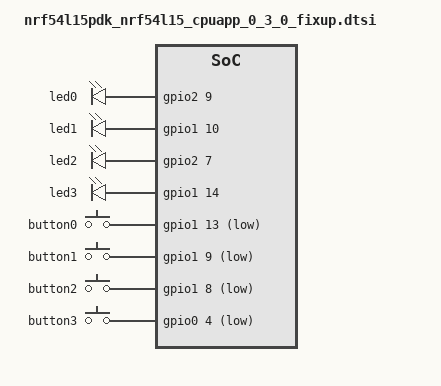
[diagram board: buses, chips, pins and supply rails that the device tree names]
/* Ths file content is copied from the "nrf54l15pdk_nrf54l15_cpuapp_0_3_0.overlay" file defined in
 * nrf54l15pdk_nrf54l15 board directory. The file from the board directory is not automatically used
 * e.g. for mcuboot_secondary_app child image. Application applies content of the file manually to
 * workaround the problem.
 */

/*
 * Copyright (c) 2024 Nordic Semiconductor ASA
 *
 * SPDX-License-Identifier: LicenseRef-Nordic-5-Clause
 */


&led0 {
	gpios = <&gpio2 9 GPIO_ACTIVE_HIGH>;
};

&led1 {
	gpios = <&gpio1 10 GPIO_ACTIVE_HIGH>;
};

&led2 {
	gpios = <&gpio2 7 GPIO_ACTIVE_HIGH>;
};

&led3 {
	gpios = <&gpio1 14 GPIO_ACTIVE_HIGH>;
};

&button0 {
	gpios = <&gpio1 13 (GPIO_PULL_UP | GPIO_ACTIVE_LOW)>;
};

&button1 {
	gpios = <&gpio1 9 (GPIO_PULL_UP | GPIO_ACTIVE_LOW)>;
};

&button2 {
	gpios = <&gpio1 8 (GPIO_PULL_UP | GPIO_ACTIVE_LOW)>;
};

&button3 {
	gpios = <&gpio0 4 (GPIO_PULL_UP | GPIO_ACTIVE_LOW)>;
};
